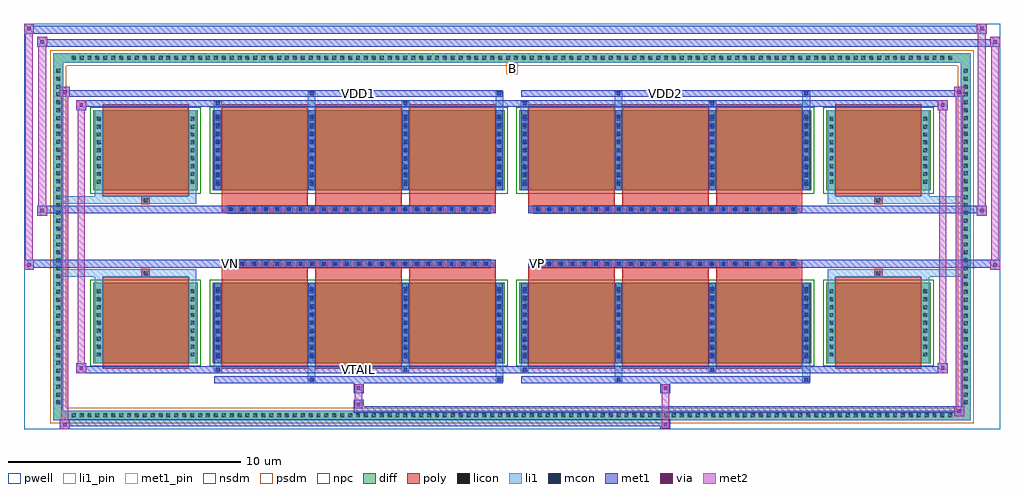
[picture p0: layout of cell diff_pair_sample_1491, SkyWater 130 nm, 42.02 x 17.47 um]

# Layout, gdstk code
import gdstk
lib = gdstk.Library(unit=1e-6, precision=5e-09)
def R(c, l, rs):  # rectangles x0, y0, x1, y1
    for r in rs: c.add(gdstk.rectangle(r[:2], r[2:], *l))
def A(c, l, x, y, w, h, nx, ny, dx, dy):  # array of equal rectangles
    R(c, l, [(x+i*dx, y+j*dy, x+i*dx+w, y+j*dy+h) for i in range(nx) for j in range(ny)])
def P(c, l, *ps):  # polygons
    for p in ps: c.add(gdstk.Polygon(p, *l))
pwell = (64, 44)
diff = (65, 20)
poly = (66, 20)
licon = (66, 44)
li1_pin = (67, 16)
li1 = (67, 20)
mcon = (67, 44)
met1_pin = (68, 16)
met1 = (68, 20)
via = (68, 44)
met2 = (69, 20)
nsdm = (93, 44)
psdm = (94, 20)
npc = (95, 20)

diff_pair_sample_1491 = lib.new_cell('diff_pair_sample_1491')
R(diff_pair_sample_1491, pwell, [(-21.01,-8.3,21.01,9.17), (-18.33,-6.49,-0.01,-0.805), (0.01,-6.49,18.33,-0.805), (-18.33,0.805,-0.01,6.49), (0.01,0.805,18.33,6.49)])
A(diff_pair_sample_1491, diff, -19.075, -7.9, 0.41, 0.41, 112, 2, 0.34, 15.39)
A(diff_pair_sample_1491, diff, -19.74, -7.345, 0.41, 0.41, 1, 43, 0, 0.34)
A(diff_pair_sample_1491, diff, 19.33, -7.345, 0.41, 0.41, 1, 43, 0, 0.34)
R(diff_pair_sample_1491, diff, [(-19.075,-7.9,19.075,-7.49), (-19.74,-7.345,-19.33,7.345), (19.33,-7.345,19.74,7.345), (-18.02,-5.445,-13.53,-1.985), (-12.89,-5.445,-0.32,-1.985), (0.32,-5.445,12.89,-1.985), (13.53,-5.445,18.02,-1.985), (-18.02,1.985,-13.53,5.445), (-12.89,1.985,-0.32,5.445), (0.32,1.985,12.89,5.445), (13.53,1.985,18.02,5.445), (-19.075,7.49,19.075,7.9)])
P(diff_pair_sample_1491, diff, [(19.74,7.9),(-19.74,7.9),(-19.74,-7.49),(-19.33,-7.49),(-19.33,7.49),(19.33,7.49),(19.33,-7.49),(-19.33,-7.49),(-19.74,-7.49),(-19.74,-7.9),(19.74,-7.9)])
A(diff_pair_sample_1491, poly, -12.5, -5.695, 3.71, 3.96, 3, 2, 4.04, 7.43)
A(diff_pair_sample_1491, poly, 0.71, -5.695, 3.71, 3.96, 3, 2, 4.04, 7.43)
A(diff_pair_sample_1491, poly, -12.5, -1.735, 3.71, 0.4, 3, 2, 4.04, 3.07)
A(diff_pair_sample_1491, poly, 0.71, -1.735, 3.71, 0.4, 3, 2, 4.04, 3.07)
A(diff_pair_sample_1491, poly, -12.27, -1.335, 0.33, 0.33, 23, 2, 0.5, 2.34)
A(diff_pair_sample_1491, poly, 0.94, -1.335, 0.33, 0.33, 23, 2, 0.5, 2.34)
R(diff_pair_sample_1491, poly, [(-17.63,-5.695,-13.92,-1.735), (13.92,-5.695,17.63,-1.735), (-15.94,-1.735,-15.61,-1.405), (-15.94,-1.735,-15.61,-1.405), (15.61,-1.735,15.94,-1.405), (15.61,-1.735,15.94,-1.405), (-12.5,-1.335,-0.71,-1.005), (0.71,-1.335,12.5,-1.005), (-12.5,1.005,-0.71,1.335), (0.71,1.005,12.5,1.335), (-15.94,1.405,-15.61,1.735), (-15.94,1.405,-15.61,1.735), (15.61,1.405,15.94,1.735), (15.61,1.405,15.94,1.735), (-17.63,1.735,-13.92,5.695), (13.92,1.735,17.63,5.695)])
A(diff_pair_sample_1491, licon, -18.955, -7.78, 0.17, 0.17, 112, 2, 0.34, 15.39)
A(diff_pair_sample_1491, licon, -19.62, -7.225, 0.17, 0.17, 1, 43, 0, 0.34)
A(diff_pair_sample_1491, licon, 19.45, -7.225, 0.17, 0.17, 1, 43, 0, 0.34)
A(diff_pair_sample_1491, licon, -17.88, -5.16, 0.17, 0.17, 1, 9, 0, 0.34)
A(diff_pair_sample_1491, licon, -13.84, -5.16, 0.17, 0.17, 1, 9, 0, 0.34)
A(diff_pair_sample_1491, licon, -12.75, -5.16, 0.17, 0.17, 4, 9, 4.04, 0.34)
A(diff_pair_sample_1491, licon, 0.46, -5.16, 0.17, 0.17, 4, 9, 4.04, 0.34)
A(diff_pair_sample_1491, licon, 13.67, -5.16, 0.17, 0.17, 1, 9, 0, 0.34)
A(diff_pair_sample_1491, licon, 17.71, -5.16, 0.17, 0.17, 1, 9, 0, 0.34)
A(diff_pair_sample_1491, licon, -12.19, -1.255, 0.17, 0.17, 23, 2, 0.5, 2.34)
A(diff_pair_sample_1491, licon, 1.02, -1.255, 0.17, 0.17, 23, 2, 0.5, 2.34)
A(diff_pair_sample_1491, licon, -17.88, 2.27, 0.17, 0.17, 1, 9, 0, 0.34)
A(diff_pair_sample_1491, licon, -13.84, 2.27, 0.17, 0.17, 1, 9, 0, 0.34)
A(diff_pair_sample_1491, licon, -12.75, 2.27, 0.17, 0.17, 4, 9, 4.04, 0.34)
A(diff_pair_sample_1491, licon, 0.46, 2.27, 0.17, 0.17, 4, 9, 4.04, 0.34)
A(diff_pair_sample_1491, licon, 13.67, 2.27, 0.17, 0.17, 1, 9, 0, 0.34)
A(diff_pair_sample_1491, licon, 17.71, 2.27, 0.17, 0.17, 1, 9, 0, 0.34)
R(diff_pair_sample_1491, licon, [(-15.86,-1.655,-15.69,-1.485), (15.69,-1.655,15.86,-1.485), (-15.86,1.485,-15.69,1.655), (15.69,1.485,15.86,1.655)])
R(diff_pair_sample_1491, li1_pin, [(-0.25,6.99,0.25,7.49)])
A(diff_pair_sample_1491, li1, -19.035, -7.86, 0.33, 0.33, 112, 2, 0.34, 15.39)
A(diff_pair_sample_1491, li1, -19.7, -7.305, 0.33, 0.33, 1, 43, 0, 0.34)
A(diff_pair_sample_1491, li1, 19.37, -7.305, 0.33, 0.33, 1, 43, 0, 0.34)
A(diff_pair_sample_1491, li1, -12.83, -5.445, 0.33, 3.46, 4, 2, 4.04, 7.43)
A(diff_pair_sample_1491, li1, 0.38, -5.445, 0.33, 3.46, 4, 2, 4.04, 7.43)
A(diff_pair_sample_1491, li1, -17.96, -5.24, 0.33, 0.33, 1, 9, 0, 0.34)
A(diff_pair_sample_1491, li1, -13.92, -5.24, 0.33, 0.33, 1, 9, 0, 0.34)
A(diff_pair_sample_1491, li1, -12.83, -5.24, 0.33, 0.33, 4, 9, 4.04, 0.34)
A(diff_pair_sample_1491, li1, -12.75, -5.24, 0.17, 0.17, 4, 9, 4.04, 0.36)
A(diff_pair_sample_1491, li1, -12.75, -5.24, 0.17, 3.05, 4, 2, 4.04, 7.43)
A(diff_pair_sample_1491, li1, 0.38, -5.24, 0.33, 0.33, 4, 9, 4.04, 0.34)
A(diff_pair_sample_1491, li1, 0.46, -5.24, 0.17, 0.17, 4, 9, 4.04, 0.36)
A(diff_pair_sample_1491, li1, 0.46, -5.24, 0.17, 3.05, 4, 2, 4.04, 7.43)
A(diff_pair_sample_1491, li1, 13.59, -5.24, 0.33, 0.33, 1, 9, 0, 0.34)
A(diff_pair_sample_1491, li1, 17.63, -5.24, 0.33, 0.33, 1, 9, 0, 0.34)
A(diff_pair_sample_1491, li1, -12.27, -1.335, 0.33, 0.33, 23, 2, 0.5, 2.34)
A(diff_pair_sample_1491, li1, 0.94, -1.335, 0.33, 0.33, 23, 2, 0.5, 2.34)
A(diff_pair_sample_1491, li1, -17.96, 2.19, 0.33, 0.33, 1, 9, 0, 0.34)
A(diff_pair_sample_1491, li1, -13.92, 2.19, 0.33, 0.33, 1, 9, 0, 0.34)
A(diff_pair_sample_1491, li1, -12.83, 2.19, 0.33, 0.33, 4, 9, 4.04, 0.34)
A(diff_pair_sample_1491, li1, -12.75, 2.19, 0.17, 0.17, 4, 9, 4.04, 0.36)
A(diff_pair_sample_1491, li1, 0.38, 2.19, 0.33, 0.33, 4, 9, 4.04, 0.34)
A(diff_pair_sample_1491, li1, 0.46, 2.19, 0.17, 0.17, 4, 9, 4.04, 0.36)
A(diff_pair_sample_1491, li1, 13.59, 2.19, 0.33, 0.33, 1, 9, 0, 0.34)
A(diff_pair_sample_1491, li1, 17.63, 2.19, 0.33, 0.33, 1, 9, 0, 0.34)
R(diff_pair_sample_1491, li1, [(-19.74,-7.9,-19.33,-7.49), (-19.74,-7.9,-19.33,-7.49), (-19.33,-7.9,19.33,-7.49), (19.33,-7.9,19.74,-7.49), (19.33,-7.9,19.74,-7.49), (-19.74,-7.49,-19.33,7.49), (19.33,-7.49,19.74,7.49), (-8.79,-6.25,-8.46,-5.445), (-8.71,-6.25,-8.54,-6.08), (-0.71,-6.25,-0.38,-5.445), (-0.63,-6.25,-0.46,-6.08), (4.42,-6.25,4.75,-5.445), (4.5,-6.25,4.67,-6.08), (12.5,-6.25,12.83,-5.445), (12.58,-6.25,12.75,-6.08), (-12.83,-5.82,-12.5,-5.445), (-12.75,-5.82,-12.58,-5.65), (-4.75,-5.82,-4.42,-5.445), (-4.67,-5.82,-4.5,-5.65), (0.38,-5.82,0.71,-5.445), (0.46,-5.82,0.63,-5.65), (8.46,-5.82,8.79,-5.445), (8.54,-5.82,8.71,-5.65), (-17.96,-5.445,-17.63,-1.985), (-13.92,-5.445,-13.59,-1.985), (13.59,-5.445,13.92,-1.985), (17.63,-5.445,17.96,-1.985), (-17.96,-1.985,-17.63,-1.405), (-13.92,-1.985,-13.59,-1.405), (13.59,-1.985,13.92,-1.405), (17.63,-1.985,17.96,-1.405), (-19.74,-1.735,-15.94,-1.405), (-17.96,-1.735,-15.94,-1.405), (-15.94,-1.735,-15.61,-1.405), (-15.61,-1.735,-13.59,-1.405), (13.59,-1.735,15.61,-1.405), (15.61,-1.735,15.94,-1.405), (15.61,-1.735,19.74,-1.405), (15.94,-1.735,17.96,-1.405), (-19.74,1.405,-15.94,1.735), (-17.96,1.405,-15.94,1.735), (-17.96,1.405,-17.63,1.985), (-15.94,1.405,-15.61,1.735), (-15.61,1.405,-13.59,1.735), (-13.92,1.405,-13.59,1.985), (13.59,1.405,15.61,1.735), (13.59,1.405,13.92,1.985), (15.61,1.405,15.94,1.735), (15.61,1.405,19.74,1.735), (15.94,1.405,17.96,1.735), (17.63,1.405,17.96,1.985), (-17.96,1.985,-17.63,5.445), (-13.92,1.985,-13.59,5.445), (13.59,1.985,13.92,5.445), (17.63,1.985,17.96,5.445), (-12.83,5.445,-12.5,5.82), (-8.79,5.445,-8.46,6.25), (-4.75,5.445,-4.42,5.82), (-0.71,5.445,-0.38,6.25), (0.38,5.445,0.71,5.82), (4.42,5.445,4.75,6.25), (8.46,5.445,8.79,5.82), (12.5,5.445,12.83,6.25), (-12.75,5.65,-12.58,5.82), (-4.67,5.65,-4.5,5.82), (0.46,5.65,0.63,5.82), (8.54,5.65,8.71,5.82), (-8.71,6.08,-8.54,6.25), (-0.63,6.08,-0.46,6.25), (4.5,6.08,4.67,6.25), (12.58,6.08,12.75,6.25), (-19.74,7.49,-19.33,7.9), (-19.74,7.49,-19.33,7.9), (-19.33,7.49,19.33,7.9), (19.33,7.49,19.74,7.9), (19.33,7.49,19.74,7.9)])
A(diff_pair_sample_1491, mcon, -12.75, -5.24, 0.17, 0.17, 4, 9, 4.04, 0.36)
A(diff_pair_sample_1491, mcon, 0.46, -5.24, 0.17, 0.17, 4, 9, 4.04, 0.36)
A(diff_pair_sample_1491, mcon, -12.19, -1.255, 0.17, 0.17, 23, 2, 0.5, 2.34)
A(diff_pair_sample_1491, mcon, 1.02, -1.255, 0.17, 0.17, 23, 2, 0.5, 2.34)
A(diff_pair_sample_1491, mcon, -12.75, 2.19, 0.17, 0.17, 4, 9, 4.04, 0.36)
A(diff_pair_sample_1491, mcon, 0.46, 2.19, 0.17, 0.17, 4, 9, 4.04, 0.36)
R(diff_pair_sample_1491, mcon, [(-8.71,-6.25,-8.54,-6.08), (-0.63,-6.25,-0.46,-6.08), (4.5,-6.25,4.67,-6.08), (12.58,-6.25,12.75,-6.08), (-12.75,-5.82,-12.58,-5.65), (-4.67,-5.82,-4.5,-5.65), (0.46,-5.82,0.63,-5.65), (8.54,-5.82,8.71,-5.65), (-12.75,5.65,-12.58,5.82), (-4.67,5.65,-4.5,5.82), (0.46,5.65,0.63,5.82), (8.54,5.65,8.71,5.82), (-8.71,6.08,-8.54,6.25), (-0.63,6.08,-0.46,6.25), (4.5,6.08,4.67,6.25), (12.58,6.08,12.75,6.25)])
R(diff_pair_sample_1491, met1_pin, [(-6.74,-5.86,-6.47,-5.59), (-12.24,-1.295,-11.97,-1.025), (0.97,-1.295,1.24,-1.025), (-6.74,6.04,-6.47,6.31), (6.47,6.04,6.74,6.31)])
A(diff_pair_sample_1491, met1, -12.81, -5.445, 0.29, 3.46, 4, 2, 4.04, 7.43)
A(diff_pair_sample_1491, met1, 0.4, -5.445, 0.29, 3.46, 4, 2, 4.04, 7.43)
A(diff_pair_sample_1491, met1, -12.81, -5.3, 0.29, 0.29, 4, 9, 4.04, 0.36)
A(diff_pair_sample_1491, met1, 0.4, -5.3, 0.29, 0.29, 4, 9, 4.04, 0.36)
A(diff_pair_sample_1491, met1, -12.25, -1.315, 0.29, 0.29, 23, 2, 0.5, 2.34)
A(diff_pair_sample_1491, met1, 0.96, -1.315, 0.29, 0.29, 23, 2, 0.5, 2.34)
A(diff_pair_sample_1491, met1, -12.81, 2.13, 0.29, 0.29, 4, 9, 4.04, 0.36)
A(diff_pair_sample_1491, met1, 0.4, 2.13, 0.29, 0.29, 4, 9, 4.04, 0.36)
R(diff_pair_sample_1491, met1, [(-19.47,-8.3,-19.04,-7.87), (6.39,-8.3,6.82,-7.87), (-19.47,-8.16,6.82,-7.87), (19.04,-7.73,19.47,-7.3), (-6.82,-7.59,19.47,-7.3), (-6.82,-7.45,-6.39,-7.02), (-6.82,-6.74,-6.39,-6.31), (6.39,-6.74,6.82,-6.31), (-12.81,-6.31,-0.4,-6.02), (-8.77,-6.31,-8.48,-6.02), (-0.69,-6.31,-0.4,-6.02), (0.4,-6.31,12.81,-6.02), (4.44,-6.31,4.73,-6.02), (12.52,-6.31,12.81,-6.02), (-18.76,-5.88,-18.33,-5.45), (-18.76,-5.88,-12.81,-5.59), (-12.81,-5.88,-12.52,-5.59), (-12.81,-5.88,-0.4,-5.59), (-4.73,-5.88,-4.44,-5.59), (-0.4,-5.88,0.4,-5.59), (0.4,-5.88,0.69,-5.59), (0.4,-5.88,12.81,-5.59), (8.48,-5.88,8.77,-5.59), (12.81,-5.88,18.76,-5.59), (18.33,-5.88,18.76,-5.45), (-21.01,-1.435,-20.58,-1.005), (20.58,-1.435,21.01,-1.005), (-21.01,-1.335,-0.71,-1.005), (-12.5,-1.335,-0.71,-1.005), (0.71,-1.335,12.5,-1.005), (0.71,-1.335,21.01,-1.005), (-20.44,0.905,-20.01,1.335), (20.01,0.905,20.44,1.335), (-20.44,1.005,-12.5,1.335), (-12.5,1.005,-0.71,1.335), (0.71,1.005,12.5,1.335), (12.5,1.005,20.44,1.335), (-18.76,5.45,-18.33,5.88), (18.33,5.45,18.76,5.88), (-18.76,5.59,-12.81,5.88), (-12.81,5.59,-12.52,5.88), (-12.81,5.59,-0.4,5.88), (-4.73,5.59,-4.44,5.88), (-0.4,5.59,0.4,5.88), (0.4,5.59,0.69,5.88), (0.4,5.59,12.81,5.88), (8.48,5.59,8.77,5.88), (12.81,5.59,18.76,5.88), (-19.47,6.02,-19.04,6.45), (-19.47,6.02,-12.81,6.31), (-12.81,6.02,-0.4,6.31), (-8.77,6.02,-8.48,6.31), (-0.69,6.02,-0.4,6.31), (0.4,6.02,12.81,6.31), (4.44,6.02,4.73,6.31), (12.52,6.02,12.81,6.31), (12.81,6.02,19.47,6.31), (19.04,6.02,19.47,6.45), (-20.44,8.17,-20.01,8.6), (-20.44,8.17,-18.33,8.5), (-18.33,8.17,18.33,8.5), (18.33,8.17,21.01,8.5), (20.58,8.17,21.01,8.6), (-21.01,8.74,-20.58,9.17), (-21.01,8.74,-18.33,9.07), (-18.33,8.74,18.33,9.07), (18.33,8.74,20.44,9.07), (20.01,8.74,20.44,9.17)])
R(diff_pair_sample_1491, via, [(-19.33,-8.16,-19.18,-8.01), (6.53,-8.16,6.68,-8.01), (19.18,-7.59,19.33,-7.44), (-6.68,-7.31,-6.53,-7.16), (-6.68,-6.6,-6.53,-6.45), (6.53,-6.6,6.68,-6.45), (-18.62,-5.74,-18.47,-5.59), (18.47,-5.74,18.62,-5.59), (-20.87,-1.295,-20.72,-1.145), (20.72,-1.295,20.87,-1.145), (-20.3,1.045,-20.15,1.195), (20.15,1.045,20.3,1.195), (-18.62,5.59,-18.47,5.74), (18.47,5.59,18.62,5.74), (-19.33,6.16,-19.18,6.31), (19.18,6.16,19.33,6.31), (-20.3,8.31,-20.15,8.46), (20.72,8.31,20.87,8.46), (-20.87,8.88,-20.72,9.03), (20.15,8.88,20.3,9.03)])
R(diff_pair_sample_1491, met2, [(-19.47,-8.3,-19.04,-7.87), (-19.4,-8.3,-19.11,6.45), (-19.11,-8.3,-19.04,-7.87), (-19.42,-8.25,-19.09,-7.92), (6.44,-8.25,6.77,-7.92), (6.44,-7.92,6.77,-6.69), (19.04,-7.73,19.47,-7.3), (19.11,-7.73,19.4,6.45), (19.4,-7.73,19.47,-7.3), (19.09,-7.68,19.42,-7.35), (-6.77,-7.4,-6.44,-7.07), (-6.77,-7.07,-6.44,-6.69), (-6.77,-6.69,-6.44,-6.36), (6.44,-6.69,6.77,-6.36), (-18.76,-5.88,-18.33,-5.45), (-18.69,-5.88,-18.4,5.88), (-18.4,-5.88,-18.33,-5.45), (18.33,-5.88,18.76,-5.45), (18.4,-5.88,18.69,5.88), (18.69,-5.88,18.76,-5.45), (-18.71,-5.83,-18.38,-5.5), (18.38,-5.83,18.71,-5.5), (-21.01,-1.435,-20.58,-1.005), (-20.96,-1.435,-20.63,9.17), (-20.63,-1.435,-20.58,-1.005), (20.58,-1.435,21.01,-1.005), (20.63,-1.435,20.96,8.6), (20.96,-1.435,21.01,-1.005), (-20.96,-1.385,-20.63,-1.055), (20.63,-1.385,20.96,-1.055), (-20.44,0.905,-20.01,1.335), (-20.39,0.905,-20.06,8.6), (-20.06,0.905,-20.01,1.335), (20.01,0.905,20.44,1.335), (20.06,0.905,20.39,9.17), (20.39,0.905,20.44,1.335), (-20.39,0.955,-20.06,1.285), (20.06,0.955,20.39,1.285), (-18.76,5.45,-18.33,5.88), (-18.4,5.45,-18.33,5.88), (18.33,5.45,18.76,5.88), (18.69,5.45,18.76,5.88), (-18.71,5.5,-18.38,5.83), (18.38,5.5,18.71,5.83), (-19.47,6.02,-19.04,6.45), (-19.11,6.02,-19.04,6.45), (19.04,6.02,19.47,6.45), (19.4,6.02,19.47,6.45), (-19.42,6.07,-19.09,6.4), (19.09,6.07,19.42,6.4), (-20.44,8.17,-20.01,8.6), (-20.06,8.17,-20.01,8.6), (20.58,8.17,21.01,8.6), (20.96,8.17,21.01,8.6), (-20.39,8.22,-20.06,8.55), (20.63,8.22,20.96,8.55), (-21.01,8.74,-20.58,9.17), (-20.63,8.74,-20.58,9.17), (20.01,8.74,20.44,9.17), (20.39,8.74,20.44,9.17), (-20.96,8.79,-20.63,9.12), (20.06,8.79,20.39,9.12)])
R(diff_pair_sample_1491, nsdm, [(-18.15,-5.575,-13.4,-1.855), (-13.02,-5.575,-0.19,-1.855), (0.19,-5.575,13.02,-1.855), (13.4,-5.575,18.15,-1.855), (-18.15,1.855,-13.4,5.575), (-13.02,1.855,-0.19,5.575), (0.19,1.855,13.02,5.575), (13.4,1.855,18.15,5.575)])
P(diff_pair_sample_1491, psdm, [(19.87,8.03),(-19.87,8.03),(-19.87,-7.36),(-19.2,-7.36),(-19.2,7.36),(19.2,7.36),(19.2,-7.36),(-19.2,-7.36),(-19.87,-7.36),(-19.87,-8.03),(19.87,-8.03)])
A(diff_pair_sample_1491, npc, -12.29, -1.355, 0.37, 0.37, 23, 2, 0.5, 2.34)
A(diff_pair_sample_1491, npc, 0.92, -1.355, 0.37, 0.37, 23, 2, 0.5, 2.34)
R(diff_pair_sample_1491, npc, [(-15.96,-1.755,-15.59,-1.385), (15.59,-1.755,15.96,-1.385), (-12.29,-1.355,-11.42,-0.985), (-12.29,-1.355,-11.42,-0.985), (-11.79,-1.355,-10.92,-0.985), (-11.79,-1.355,-10.92,-0.985), (-11.29,-1.355,-10.42,-0.985), (-11.29,-1.355,-10.42,-0.985), (-10.79,-1.355,-9.92,-0.985), (-10.79,-1.355,-9.92,-0.985), (-10.29,-1.355,-9.42,-0.985), (-10.29,-1.355,-9.42,-0.985), (-9.79,-1.355,-8.92,-0.985), (-9.79,-1.355,-8.92,-0.985), (-9.29,-1.355,-8.42,-0.985), (-9.29,-1.355,-8.42,-0.985), (-8.79,-1.355,-7.92,-0.985), (-8.79,-1.355,-7.92,-0.985), (-8.29,-1.355,-7.42,-0.985), (-8.29,-1.355,-7.42,-0.985), (-7.79,-1.355,-6.92,-0.985), (-7.79,-1.355,-6.92,-0.985), (-7.29,-1.355,-6.42,-0.985), (-7.29,-1.355,-6.42,-0.985), (-6.79,-1.355,-5.92,-0.985), (-6.79,-1.355,-5.92,-0.985), (-6.29,-1.355,-5.42,-0.985), (-6.29,-1.355,-5.42,-0.985), (-5.79,-1.355,-4.92,-0.985), (-5.79,-1.355,-4.92,-0.985), (-5.29,-1.355,-4.42,-0.985), (-5.29,-1.355,-4.42,-0.985), (-4.79,-1.355,-3.92,-0.985), (-4.79,-1.355,-3.92,-0.985), (-4.29,-1.355,-3.42,-0.985), (-4.29,-1.355,-3.42,-0.985), (-3.79,-1.355,-2.92,-0.985), (-3.79,-1.355,-2.92,-0.985), (-3.29,-1.355,-2.42,-0.985), (-3.29,-1.355,-2.42,-0.985), (-2.79,-1.355,-1.92,-0.985), (-2.79,-1.355,-1.92,-0.985), (-2.29,-1.355,-1.42,-0.985), (-2.29,-1.355,-1.42,-0.985), (-1.79,-1.355,-0.92,-0.985), (-1.79,-1.355,-0.92,-0.985), (0.92,-1.355,1.79,-0.985), (0.92,-1.355,1.79,-0.985), (1.42,-1.355,2.29,-0.985), (1.42,-1.355,2.29,-0.985), (1.92,-1.355,2.79,-0.985), (1.92,-1.355,2.79,-0.985), (2.42,-1.355,3.29,-0.985), (2.42,-1.355,3.29,-0.985), (2.92,-1.355,3.79,-0.985), (2.92,-1.355,3.79,-0.985), (3.42,-1.355,4.29,-0.985), (3.42,-1.355,4.29,-0.985), (3.92,-1.355,4.79,-0.985), (3.92,-1.355,4.79,-0.985), (4.42,-1.355,5.29,-0.985), (4.42,-1.355,5.29,-0.985), (4.92,-1.355,5.79,-0.985), (4.92,-1.355,5.79,-0.985), (5.42,-1.355,6.29,-0.985), (5.42,-1.355,6.29,-0.985), (5.92,-1.355,6.79,-0.985), (5.92,-1.355,6.79,-0.985), (6.42,-1.355,7.29,-0.985), (6.42,-1.355,7.29,-0.985), (6.92,-1.355,7.79,-0.985), (6.92,-1.355,7.79,-0.985), (7.42,-1.355,8.29,-0.985), (7.42,-1.355,8.29,-0.985), (7.92,-1.355,8.79,-0.985), (7.92,-1.355,8.79,-0.985), (8.42,-1.355,9.29,-0.985), (8.42,-1.355,9.29,-0.985), (8.92,-1.355,9.79,-0.985), (8.92,-1.355,9.79,-0.985), (9.42,-1.355,10.29,-0.985), (9.42,-1.355,10.29,-0.985), (9.92,-1.355,10.79,-0.985), (9.92,-1.355,10.79,-0.985), (10.42,-1.355,11.29,-0.985), (10.42,-1.355,11.29,-0.985), (10.92,-1.355,11.79,-0.985), (10.92,-1.355,11.79,-0.985), (11.42,-1.355,12.29,-0.985), (11.42,-1.355,12.29,-0.985), (-12.29,0.985,-11.42,1.355), (-12.29,0.985,-11.42,1.355), (-11.79,0.985,-10.92,1.355), (-11.79,0.985,-10.92,1.355), (-11.29,0.985,-10.42,1.355), (-11.29,0.985,-10.42,1.355), (-10.79,0.985,-9.92,1.355), (-10.79,0.985,-9.92,1.355), (-10.29,0.985,-9.42,1.355), (-10.29,0.985,-9.42,1.355), (-9.79,0.985,-8.92,1.355), (-9.79,0.985,-8.92,1.355), (-9.29,0.985,-8.42,1.355), (-9.29,0.985,-8.42,1.355), (-8.79,0.985,-7.92,1.355), (-8.79,0.985,-7.92,1.355), (-8.29,0.985,-7.42,1.355), (-8.29,0.985,-7.42,1.355), (-7.79,0.985,-6.92,1.355), (-7.79,0.985,-6.92,1.355), (-7.29,0.985,-6.42,1.355), (-7.29,0.985,-6.42,1.355), (-6.79,0.985,-5.92,1.355), (-6.79,0.985,-5.92,1.355), (-6.29,0.985,-5.42,1.355), (-6.29,0.985,-5.42,1.355), (-5.79,0.985,-4.92,1.355), (-5.79,0.985,-4.92,1.355), (-5.29,0.985,-4.42,1.355), (-5.29,0.985,-4.42,1.355), (-4.79,0.985,-3.92,1.355), (-4.79,0.985,-3.92,1.355), (-4.29,0.985,-3.42,1.355), (-4.29,0.985,-3.42,1.355), (-3.79,0.985,-2.92,1.355), (-3.79,0.985,-2.92,1.355), (-3.29,0.985,-2.42,1.355), (-3.29,0.985,-2.42,1.355), (-2.79,0.985,-1.92,1.355), (-2.79,0.985,-1.92,1.355), (-2.29,0.985,-1.42,1.355), (-2.29,0.985,-1.42,1.355), (-1.79,0.985,-0.92,1.355), (-1.79,0.985,-0.92,1.355), (0.92,0.985,1.79,1.355), (0.92,0.985,1.79,1.355), (1.42,0.985,2.29,1.355), (1.42,0.985,2.29,1.355), (1.92,0.985,2.79,1.355), (1.92,0.985,2.79,1.355), (2.42,0.985,3.29,1.355), (2.42,0.985,3.29,1.355), (2.92,0.985,3.79,1.355), (2.92,0.985,3.79,1.355), (3.42,0.985,4.29,1.355), (3.42,0.985,4.29,1.355), (3.92,0.985,4.79,1.355), (3.92,0.985,4.79,1.355), (4.42,0.985,5.29,1.355), (4.42,0.985,5.29,1.355), (4.92,0.985,5.79,1.355), (4.92,0.985,5.79,1.355), (5.42,0.985,6.29,1.355), (5.42,0.985,6.29,1.355), (5.92,0.985,6.79,1.355), (5.92,0.985,6.79,1.355), (6.42,0.985,7.29,1.355), (6.42,0.985,7.29,1.355), (6.92,0.985,7.79,1.355), (6.92,0.985,7.79,1.355), (7.42,0.985,8.29,1.355), (7.42,0.985,8.29,1.355), (7.92,0.985,8.79,1.355), (7.92,0.985,8.79,1.355), (8.42,0.985,9.29,1.355), (8.42,0.985,9.29,1.355), (8.92,0.985,9.79,1.355), (8.92,0.985,9.79,1.355), (9.42,0.985,10.29,1.355), (9.42,0.985,10.29,1.355), (9.92,0.985,10.79,1.355), (9.92,0.985,10.79,1.355), (10.42,0.985,11.29,1.355), (10.42,0.985,11.29,1.355), (10.92,0.985,11.79,1.355), (10.92,0.985,11.79,1.355), (11.42,0.985,12.29,1.355), (11.42,0.985,12.29,1.355), (-15.96,1.385,-15.59,1.755), (15.59,1.385,15.96,1.755)])
diff_pair_sample_1491.add(gdstk.Label('VTAIL', (-6.605,-5.725), layer=68, texttype=5))
diff_pair_sample_1491.add(gdstk.Label('VN', (-12.105,-1.16), layer=68, texttype=5))
diff_pair_sample_1491.add(gdstk.Label('VP', (1.105,-1.16), layer=68, texttype=5))
diff_pair_sample_1491.add(gdstk.Label('B', (0,7.24), layer=67, texttype=5))
diff_pair_sample_1491.add(gdstk.Label('VDD2', (6.605,6.175), layer=68, texttype=5))
diff_pair_sample_1491.add(gdstk.Label('VDD1', (-6.605,6.175), layer=68, texttype=5))

lib.write_gds('diff_pair_sample_1491.gds')
